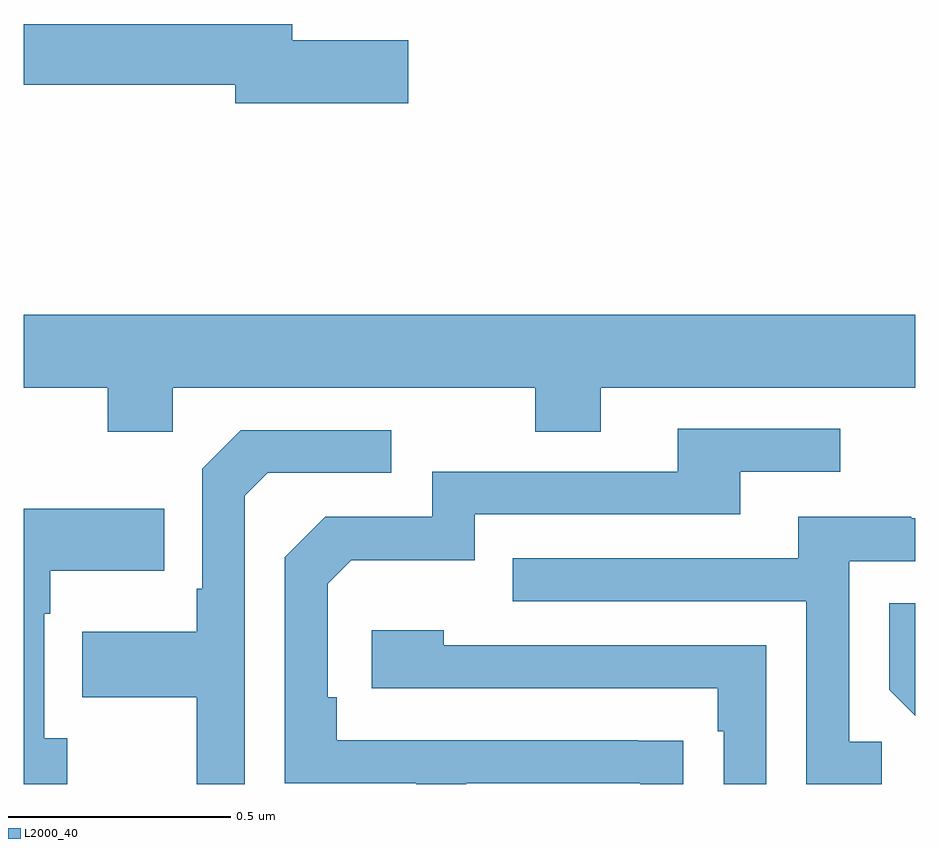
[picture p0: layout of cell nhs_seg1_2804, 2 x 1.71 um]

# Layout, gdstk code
import gdstk
lib = gdstk.Library(unit=1e-6, precision=1e-09)
def P(c, l, *ps):  # polygons
    for p in ps: c.add(gdstk.Polygon(p, *l))
L2000_40 = (2000, 40)

nhs_seg1_2804 = lib.new_cell('nhs_seg1_2804')
P(nhs_seg1_2804, L2000_40, [(146.863,529.868),(146.602,529.868),(146.602,529.904),(146,529.904),(146,529.768),(146.474,529.768),(146.474,529.726),(146.863,529.726)],
  [(146.334,529.088),(147.148,529.088),(147.148,528.989),(147.295,528.989),(147.295,529.088),(148,529.088),(148,529.252),(146,529.252),(146,529.088),(146.188,529.088),(146.188,528.989),(146.334,528.989)],
  [(146.993,528.201),(147.383,528.201),(147.383,528.199),(147.479,528.199),(147.479,528.296),(147.377,528.296),(147.377,528.297),(146.702,528.297),(146.702,528.394),(146.682,528.394),(146.682,528.648),(146.735,528.701),(147.012,528.701),(147.012,528.804),(147.607,528.804),(147.607,528.9),(147.832,528.9),(147.832,528.996),(147.467,528.996),(147.467,528.9),(146.916,528.9),(146.916,528.798),(146.676,528.798),(146.586,528.708),(146.586,528.201),(146.881,528.201),(146.881,528.199),(146.993,528.199)],
  [(146.496,528.846),(146.547,528.897),(146.824,528.897),(146.824,528.993),(146.487,528.993),(146.4,528.906),(146.4,528.637),(146.388,528.637),(146.388,528.541),(146.131,528.541),(146.131,528.394),(146.388,528.394),(146.388,528.199),(146.496,528.199)],
  [(146.098,528.302),(146.046,528.302),(146.046,528.581),(146.059,528.581),(146.059,528.677),(146.315,528.677),(146.315,528.817),(146,528.817),(146,528.199),(146.098,528.199)],
  [(147.925,528.294),(147.852,528.294),(147.852,528.699),(148,528.699),(148,528.795),(147.991,528.795),(147.991,528.799),(147.737,528.799),(147.737,528.705),(147.097,528.705),(147.097,528.609),(147.756,528.609),(147.756,528.199),(147.925,528.199)],
  [(148,528.604),(147.942,528.604),(147.942,528.41),(148,528.352)],
  [(147.666,528.51),(146.942,528.51),(146.942,528.544),(146.781,528.544),(146.781,528.414),(147.557,528.414),(147.557,528.317),(147.57,528.317),(147.57,528.199),(147.666,528.199)])

lib.write_gds('nhs_seg1_2804.gds')
